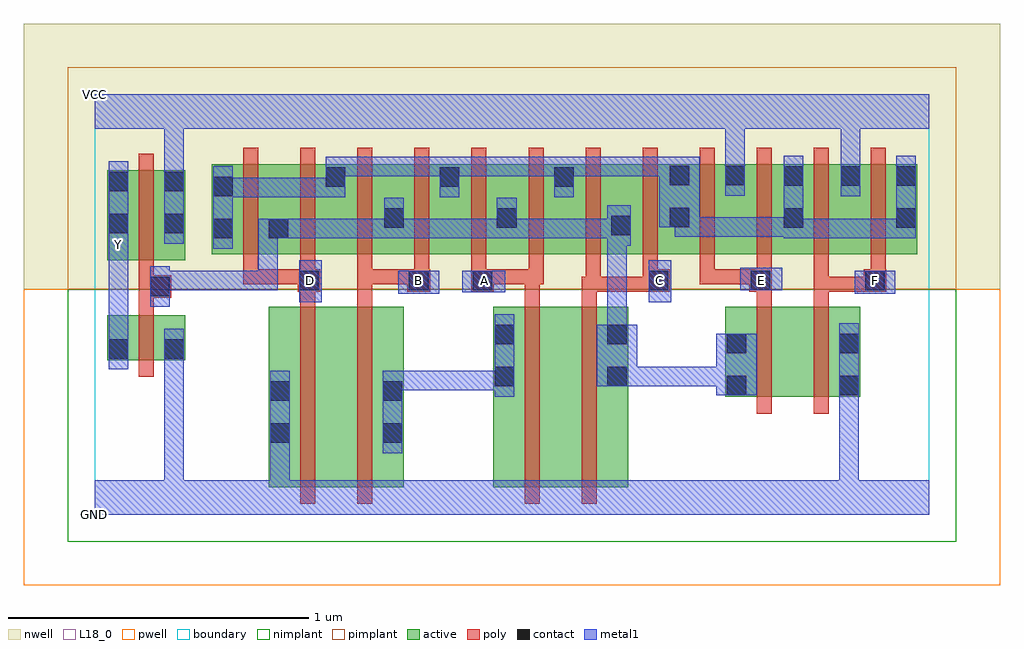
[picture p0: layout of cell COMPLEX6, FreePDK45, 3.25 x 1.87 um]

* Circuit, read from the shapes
.subckt COMPLEX6 A B C D E F GND VCC Y
M1 GND n1 Y VSUBS nfet w=0.15u l=0.05u
M2 n2 D GND VSUBS nfet w=0.6u l=0.05u
M3 n3 B n2 VSUBS nfet w=0.6u l=0.05u
M4 n4 A n3 VSUBS nfet w=0.6u l=0.05u
M5 n1 C n4 VSUBS nfet w=0.6u l=0.05u
M6 n5 E n1 VSUBS nfet w=0.3u l=0.05u
M7 GND F n5 VSUBS nfet w=0.3u l=0.05u
M8 VCC n1 Y n6 pfet w=0.3u l=0.05u
M9 n1 D n7 n6 pfet w=0.3u l=0.05u m=2
M10 n1 B n7 n6 pfet w=0.3u l=0.05u m=2
M11 n1 A n7 n6 pfet w=0.3u l=0.05u m=2
M12 n1 C n7 n6 pfet w=0.3u l=0.05u m=2
M13 VCC E n7 n6 pfet w=0.3u l=0.05u m=2
M14 VCC F n7 n6 pfet w=0.3u l=0.05u m=2
.ends

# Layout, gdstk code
import gdstk
lib = gdstk.Library(unit=1e-6, precision=1e-09)
def R(c, l, rs):  # rectangles x0, y0, x1, y1
    for r in rs: c.add(gdstk.rectangle(r[:2], r[2:], *l))
def A(c, l, x, y, w, h, nx, ny, dx, dy):  # array of equal rectangles
    R(c, l, [(x+i*dx, y+j*dy, x+i*dx+w, y+j*dy+h) for i in range(nx) for j in range(ny)])
active = (1, 0)
pwell = (2, 0)
nwell = (3, 0)
nimplant = (4, 0)
pimplant = (5, 0)
poly = (9, 0)
contact = (10, 0)
metal1 = (11, 0)
L18_0 = (18, 0)
boundary = (235, 0)

complex6 = lib.new_cell('COMPLEX6')
A(complex6, active, 1.145, 0.867, 0.265, 0.3, 3, 1, 0.19, 0)
R(complex6, active, [(0.58,0.092,0.805,0.692), (0.58,0.092,0.655,0.692), (0.805,0.092,1.03,0.692), (1.327,0.092,1.552,0.692), (1.552,0.092,1.777,0.692), (0.955,0.095,1.03,0.692), (1.327,0.095,1.432,0.692), (1.702,0.095,1.777,0.692), (2.1,0.392,2.175,0.692), (2.1,0.392,2.325,0.692), (2.325,0.392,2.55,0.692), (2.475,0.392,2.55,0.692), (0.042,0.515,0.117,0.665), (0.042,0.515,0.302,0.665), (0.227,0.515,0.302,0.665), (0.042,0.847,0.117,1.147), (0.042,0.847,0.302,1.147), (0.227,0.847,0.302,1.147), (0.39,0.867,0.465,1.167), (0.39,0.867,0.65,1.167), (0.575,0.867,0.84,1.167), (0.765,0.867,1.035,1.167), (0.96,0.867,1.22,1.167), (1.145,0.867,1.22,1.167), (1.525,0.867,1.6,1.167), (1.715,0.867,1.985,1.167), (1.91,0.867,1.985,1.167), (1.91,0.867,2.17,1.167), (2.095,0.867,2.17,1.167), (2.095,0.867,2.365,1.167), (2.29,0.867,2.365,1.167), (2.29,0.867,2.555,1.167), (2.48,0.867,2.555,1.167), (2.48,0.867,2.74,1.167), (2.665,0.867,2.74,1.167), (0.575,0.915,0.65,1.07), (1.715,0.925,1.79,1.07), (0.96,0.95,1.035,1.07), (1.335,0.95,1.41,1.07), (0.765,0.995,0.84,1.167)])
R(complex6, pwell, [(-0.235,-0.235,3.015,0.75)])
R(complex6, nwell, [(-0.235,0.75,3.015,1.635)])
R(complex6, nimplant, [(-0.09,-0.09,2.87,0.75)])
R(complex6, pimplant, [(-0.09,0.75,2.87,1.49)])
A(complex6, poly, 0.495, 0.767, 0.05, 0.095, 6, 1, 0.19, 0)
A(complex6, poly, 1.825, 0.767, 0.05, 0.095, 3, 1, 0.19, 0)
A(complex6, poly, 0.495, 0.812, 0.05, 0.41, 12, 1, 0.19, 0)
R(complex6, poly, [(0.685,0.037,0.735,0.747), (0.875,0.037,0.925,0.747), (1.432,0.037,1.482,0.747), (1.622,0.037,1.672,0.747), (2.205,0.337,2.255,0.747), (2.395,0.337,2.445,0.747), (0.147,0.46,0.197,0.72), (0.147,0.67,0.197,0.772), (0.685,0.697,0.735,0.792), (0.875,0.697,0.925,0.817), (1.432,0.697,1.482,0.817), (1.622,0.697,1.672,0.792), (2.205,0.697,2.255,0.792), (2.395,0.697,2.445,0.792), (0.147,0.722,0.255,0.797), (0.677,0.742,0.752,0.817), (1.042,0.742,1.117,0.817), (1.255,0.742,1.33,0.817), (1.622,0.742,1.685,0.792), (1.635,0.742,1.685,0.862), (1.635,0.742,1.875,0.792), (1.825,0.742,1.875,0.792), (1.825,0.742,1.875,0.792), (1.825,0.742,1.915,0.817), (2.18,0.742,2.255,0.817), (2.395,0.742,2.612,0.792), (2.395,0.742,2.445,0.792), (2.395,0.742,2.445,0.792), (2.395,0.742,2.445,0.792), (2.395,0.742,2.445,0.862), (2.562,0.742,2.637,0.817), (0.147,0.747,0.197,0.842), (0.495,0.767,0.545,0.817), (0.495,0.767,0.545,0.817), (0.495,0.767,0.545,0.817), (0.495,0.767,0.727,0.817), (0.875,0.767,1.092,0.817), (0.875,0.767,0.925,0.817), (0.875,0.767,0.925,0.817), (0.875,0.767,0.925,0.817), (1.28,0.767,1.482,0.817), (1.432,0.767,1.482,0.817), (1.432,0.767,1.482,0.817), (1.432,0.767,1.495,0.817), (2.015,0.767,2.065,0.817), (2.015,0.767,2.23,0.817), (2.18,0.767,2.23,0.817), (2.18,0.767,2.23,0.817), (2.585,0.767,2.635,0.862), (0.147,0.792,0.197,1.202)])
A(complex6, contact, 0.77, 1.092, 0.065, 0.065, 3, 1, 0.38, 0)
R(complex6, contact, [(0.585,0.24,0.65,0.305), (0.96,0.24,1.025,0.305), (0.585,0.38,0.65,0.445), (0.96,0.38,1.025,0.445), (2.105,0.397,2.17,0.462), (2.48,0.397,2.545,0.462), (1.332,0.427,1.397,0.492), (1.707,0.427,1.772,0.492), (0.047,0.52,0.112,0.585), (0.232,0.52,0.297,0.585), (2.105,0.537,2.17,0.602), (2.48,0.537,2.545,0.602), (1.332,0.567,1.397,0.632), (1.707,0.567,1.772,0.632), (0.185,0.727,0.25,0.792), (0.682,0.747,0.747,0.812), (1.047,0.747,1.112,0.812), (1.26,0.747,1.325,0.812), (1.845,0.747,1.91,0.812), (2.185,0.747,2.25,0.812), (2.567,0.747,2.632,0.812), (0.395,0.92,0.46,0.985), (0.58,0.92,0.645,0.985), (1.72,0.93,1.785,0.995), (0.047,0.937,0.112,1.002), (0.232,0.937,0.297,1.002), (0.965,0.955,1.03,1.02), (1.34,0.955,1.405,1.02), (2.295,0.955,2.36,1.02), (2.67,0.955,2.735,1.02), (1.915,0.957,1.98,1.022), (0.395,1.06,0.46,1.125), (0.047,1.077,0.112,1.142), (0.232,1.077,0.297,1.142), (2.295,1.095,2.36,1.16), (2.485,1.095,2.55,1.16), (2.67,1.095,2.735,1.16), (1.915,1.097,1.98,1.162), (2.1,1.097,2.165,1.162)])
A(complex6, metal1, 0.77, 1.057, 0.065, 0.135, 3, 1, 0.38, 0)
R(complex6, metal1, [(0,0,2.78,0.115), (0.232,0.05,0.297,0.115), (0.232,0.05,0.297,0.115), (0.232,0.05,0.297,0.115), (0.232,0.05,0.297,0.115), (0.232,0.05,0.297,0.115), (0.232,0.05,0.297,0.115), (0.232,0.05,0.297,0.55), (0.585,0.05,0.65,0.27), (2.48,0.05,2.545,0.115), (2.48,0.05,2.545,0.115), (2.48,0.05,2.545,0.115), (2.48,0.05,2.545,0.115), (2.48,0.05,2.545,0.427), (0.585,0.205,0.65,0.48), (0.96,0.205,1.025,0.48), (2.48,0.362,2.545,0.637), (1.332,0.392,1.397,0.667), (2.07,0.397,2.205,0.602), (0.96,0.415,1.025,0.48), (0.96,0.415,1.025,0.48), (0.96,0.415,1.167,0.48), (1.102,0.415,1.167,0.48), (1.102,0.415,1.167,0.48), (1.102,0.415,1.167,0.48), (1.102,0.415,1.397,0.48), (1.672,0.427,1.807,0.632), (1.742,0.427,1.807,0.492), (1.742,0.427,1.807,0.492), (1.742,0.427,1.997,0.492), (1.932,0.427,1.997,0.492), (1.932,0.427,1.997,0.492), (1.932,0.427,1.997,0.492), (1.932,0.427,2.135,0.492), (0.047,0.485,0.112,0.62), (0.232,0.485,0.297,0.62), (0.047,0.555,0.112,0.897), (1.707,0.567,1.772,0.96), (0.185,0.692,0.25,0.827), (0.682,0.707,0.757,0.847), (1.845,0.707,1.92,0.847), (1.012,0.735,1.147,0.812), (2.532,0.735,2.667,0.812), (1.225,0.74,1.367,0.812), (0.185,0.747,0.25,0.812), (0.185,0.747,0.25,0.812), (0.185,0.747,0.46,0.812), (0.395,0.747,0.46,0.812), (0.395,0.747,0.46,0.812), (0.395,0.747,0.46,0.812), (0.395,0.747,0.61,0.812), (0.545,0.747,0.61,0.812), (0.545,0.747,0.61,0.985), (2.15,0.747,2.29,0.822), (0.047,0.832,0.112,0.967), (0.395,0.885,0.46,1.16), (1.707,0.895,1.772,0.96), (1.707,0.895,1.772,0.96), (1.707,0.895,1.785,1.03), (0.047,0.902,0.112,0.967), (0.047,0.902,0.112,1.177), (0.232,0.902,0.297,1.177), (0.545,0.92,0.68,0.985), (0.615,0.92,0.68,0.985), (0.615,0.92,0.68,0.985), (0.615,0.92,0.887,0.985), (0.822,0.92,0.887,0.985), (0.822,0.92,0.887,0.985), (0.822,0.92,0.887,0.985), (0.822,0.92,1.03,0.985), (0.965,0.92,1.03,0.985), (0.965,0.92,1.03,0.985), (0.965,0.92,1.03,1.055), (0.965,0.92,1.26,0.985), (1.195,0.92,1.26,0.985), (1.195,0.92,1.26,0.985), (1.195,0.92,1.26,0.985), (1.195,0.92,1.405,0.985), (1.34,0.92,1.405,0.985), (1.34,0.92,1.405,0.985), (1.34,0.92,1.405,1.055), (1.34,0.92,1.595,0.985), (1.53,0.92,1.595,0.985), (1.53,0.92,1.595,0.985), (1.53,0.92,1.595,0.985), (1.53,0.92,1.772,0.985), (2.295,0.92,2.36,0.985), (2.295,0.92,2.36,0.985), (2.295,0.92,2.36,1.195), (2.295,0.92,2.497,0.985), (2.432,0.92,2.497,0.985), (2.432,0.92,2.735,0.985), (2.67,0.92,2.735,0.985), (2.67,0.92,2.735,0.985), (2.67,0.92,2.735,1.195), (1.932,0.925,1.997,0.99), (1.932,0.925,1.997,0.99), (1.932,0.925,1.997,0.99), (1.932,0.925,2.222,0.99), (1.932,0.925,1.997,1.022), (2.157,0.925,2.222,0.99), (2.157,0.925,2.222,0.99), (2.157,0.925,2.222,0.99), (2.157,0.925,2.36,0.99), (1.88,0.957,2.015,1.192), (0.395,1.057,0.46,1.122), (0.395,1.057,0.46,1.122), (0.395,1.057,0.597,1.122), (0.532,1.057,0.597,1.122), (0.532,1.057,0.597,1.122), (0.532,1.057,0.597,1.122), (0.532,1.057,0.835,1.122), (2.485,1.06,2.55,1.195), (2.1,1.062,2.165,1.197), (0.232,1.112,0.297,1.177), (0.232,1.112,0.297,1.177), (0.232,1.112,0.297,1.35), (0.77,1.127,0.835,1.192), (0.77,1.127,0.835,1.192), (0.77,1.127,1.03,1.192), (0.965,1.127,1.03,1.192), (0.965,1.127,1.03,1.192), (0.965,1.127,1.03,1.192), (0.965,1.127,1.215,1.192), (1.15,1.127,1.215,1.192), (1.15,1.127,1.215,1.192), (1.15,1.127,1.457,1.192), (1.392,1.127,1.457,1.192), (1.392,1.127,1.457,1.192), (1.392,1.127,1.457,1.192), (1.392,1.127,1.595,1.192), (1.53,1.127,1.595,1.192), (1.53,1.127,1.595,1.192), (1.53,1.127,1.732,1.192), (1.667,1.127,1.732,1.192), (1.667,1.127,1.86,1.192), (1.795,1.127,1.86,1.192), (1.795,1.127,1.945,1.192), (2.485,1.13,2.55,1.195), (2.485,1.13,2.55,1.195), (2.485,1.13,2.55,1.35), (2.1,1.132,2.165,1.35), (0,1.285,2.78,1.4), (2.1,1.285,2.165,1.35), (2.1,1.285,2.165,1.35)])
R(complex6, L18_0, [(0,0,2.78,0.115), (0.232,0.05,0.297,0.115), (0.232,0.05,0.297,0.115), (0.232,0.05,0.297,0.115), (0.232,0.05,0.297,0.115), (0.232,0.05,0.297,0.115), (0.232,0.05,0.297,0.115), (0.232,0.05,0.297,0.55), (0.585,0.05,0.65,0.27), (2.48,0.05,2.545,0.115), (2.48,0.05,2.545,0.115), (2.48,0.05,2.545,0.115), (2.48,0.05,2.545,0.115), (2.48,0.05,2.545,0.427), (0.585,0.205,0.65,0.48), (2.48,0.362,2.545,0.637), (0.047,0.485,0.112,0.62), (0.232,0.485,0.297,0.62), (0.047,0.555,0.112,0.897), (0.682,0.707,0.757,0.847), (1.845,0.707,1.92,0.847), (1.012,0.735,1.147,0.812), (2.532,0.735,2.667,0.812), (1.225,0.74,1.367,0.812), (0.687,0.747,0.752,0.812), (1.047,0.747,1.112,0.812), (1.267,0.747,1.332,0.812), (1.847,0.747,1.912,0.812), (2.15,0.747,2.29,0.822), (2.187,0.747,2.252,0.812), (2.567,0.747,2.632,0.812), (0.047,0.832,0.112,0.967), (0.047,0.867,0.112,0.932), (0.047,0.902,0.112,1.177), (0.047,0.902,0.112,0.967), (0.232,0.902,0.297,1.177), (2.485,1.06,2.55,1.195), (2.1,1.062,2.165,1.197), (0.232,1.112,0.297,1.177), (0.232,1.112,0.297,1.177), (0.232,1.112,0.297,1.35), (2.485,1.13,2.55,1.195), (2.485,1.13,2.55,1.195), (2.485,1.13,2.55,1.35), (2.1,1.132,2.165,1.35), (0,1.285,2.78,1.4), (2.1,1.285,2.165,1.35), (2.1,1.285,2.165,1.35)])
R(complex6, boundary, [(0,0,2.78,1.4)])
complex6.add(gdstk.Label('A', (1.3,0.78), layer=11, texttype=0))
complex6.add(gdstk.Label('B', (1.08,0.78), layer=11, texttype=0))
complex6.add(gdstk.Label('C', (1.88,0.78), layer=11, texttype=0))
complex6.add(gdstk.Label('D', (0.72,0.78), layer=11, texttype=0))
complex6.add(gdstk.Label('E', (2.22,0.78), layer=11, texttype=0))
complex6.add(gdstk.Label('F', (2.6,0.78), layer=11, texttype=0))
complex6.add(gdstk.Label('Y', (0.08,0.9), layer=11, texttype=0))
complex6.add(gdstk.Label('VCC', (0,1.4), layer=11, texttype=0))
complex6.add(gdstk.Label('GND', (0,0), layer=11, texttype=0))

lib.write_gds('COMPLEX6.gds')
